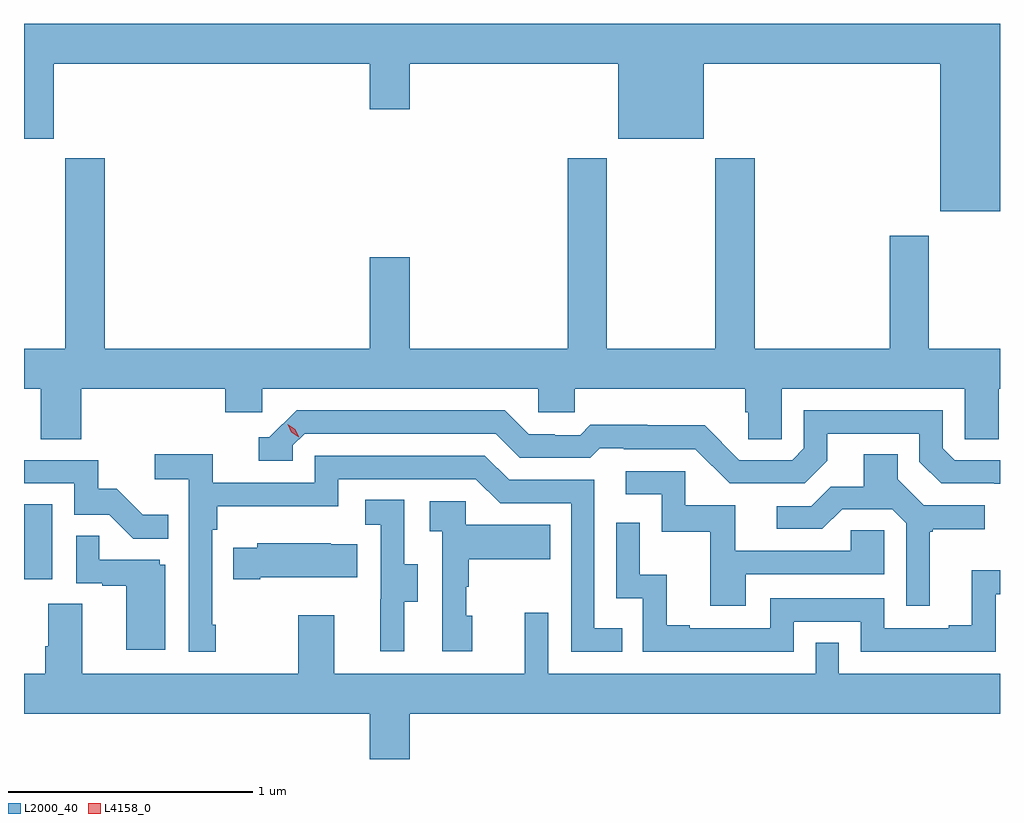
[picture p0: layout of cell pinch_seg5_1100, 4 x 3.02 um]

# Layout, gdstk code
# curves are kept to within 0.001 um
import gdstk
lib = gdstk.Library(unit=1e-6, precision=1e-09)
def R(c, l, rs):  # rectangles x0, y0, x1, y1
    for r in rs: c.add(gdstk.rectangle(r[:2], r[2:], *l))
def P(c, l, *ps):  # polygons
    for p in ps: c.add(gdstk.Polygon(p, *l))
L2000_40 = (2000, 40)
L4158_0 = (4158, 0)

pinch_seg5_1100 = lib.new_cell('pinch_seg5_1100')
R(pinch_seg5_1100, L2000_40, [(810.944,843.99,811.06,844.297)])
P(pinch_seg5_1100, L2000_40, [(814.944,846.268),(810.944,846.268),(810.944,845.795),(811.066,845.795),(811.066,846.104),(812.36,846.104),(812.36,845.916),(812.524,845.916),(812.524,846.104),(813.38,846.104),(813.38,845.795),(813.73,845.795),(813.73,846.104),(814.7,846.104),(814.7,845.498),(814.944,845.498)],
  [(811.178,844.772),(811.769,844.772),(811.769,844.674),(811.92,844.674),(811.92,844.772),(813.051,844.772),(813.051,844.674),(813.201,844.674),(813.201,844.772),(813.899,844.772),(813.899,844.674),(813.913,844.674),(813.913,844.564),(814.05,844.564),(814.05,844.772),(814.8,844.772),(814.8,844.564),(814.939,844.564),(814.939,844.772),(814.944,844.772),(814.944,844.936),(814.653,844.936),(814.653,845.398),(814.493,845.398),(814.493,844.936),(813.938,844.936),(813.938,845.716),(813.778,845.716),(813.778,844.936),(813.333,844.936),(813.333,845.716),(813.173,845.716),(813.173,844.936),(812.524,844.936),(812.524,845.311),(812.36,845.311),(812.36,844.936),(811.274,844.936),(811.274,845.716),(811.114,845.716),(811.114,844.936),(810.944,844.936),(810.944,844.772),(811.013,844.772),(811.013,844.564),(811.178,844.564)],
  [(814.944,844.479),(814.758,844.479),(814.71,844.527),(814.71,844.683),(814.14,844.683),(814.14,844.527),(814.092,844.479),(813.876,844.479),(813.734,844.621),(813.498,844.621),(813.498,844.624),(813.265,844.624),(813.223,844.581),(813.12,844.581),(813.12,844.584),(813.013,844.584),(812.914,844.683),(812.061,844.683),(811.95,844.572),(811.907,844.572),(811.907,844.476),(812.046,844.476),(812.046,844.539),(812.094,844.587),(812.877,844.587),(812.976,844.488),(813.265,844.488),(813.304,844.527),(813.403,844.527),(813.403,844.524),(813.696,844.524),(813.837,844.383),(814.143,844.383),(814.237,844.477),(814.237,844.587),(814.614,844.587),(814.614,844.473),(814.704,844.383),(814.944,844.382)],
  [(814.657,844.185),(814.669,844.185),(814.669,844.196),(814.882,844.196),(814.882,844.293),(814.632,844.293),(814.525,844.4),(814.525,844.502),(814.385,844.502),(814.385,844.37),(814.25,844.37),(814.17,844.29),(814.029,844.29),(814.029,844.197),(814.216,844.197),(814.297,844.278),(814.503,844.278),(814.56,844.221),(814.56,843.882),(814.657,843.882)],
  [(811.729,843.805),(811.716,843.805),(811.716,844.193),(811.736,844.193),(811.736,844.289),(812.232,844.289),(812.232,844.401),(812.796,844.401),(812.895,844.302),(813.186,844.302),(813.186,843.693),(813.395,843.693),(813.395,843.789),(813.282,843.789),(813.282,844.398),(812.932,844.398),(812.833,844.497),(812.136,844.497),(812.136,844.386),(811.718,844.386),(811.718,844.502),(811.479,844.502),(811.479,844.4),(811.62,844.4),(811.62,843.693),(811.729,843.693)],
  [(811.535,844.255),(811.431,844.255),(811.324,844.362),(811.248,844.362),(811.248,844.479),(810.944,844.479),(810.944,844.383),(811.149,844.383),(811.149,844.254),(811.293,844.254),(811.391,844.156),(811.535,844.156)],
  [(813.901,844.011),(814.47,844.011),(814.47,844.191),(814.333,844.191),(814.333,844.107),(813.859,844.107),(813.859,844.293),(813.654,844.293),(813.654,844.434),(813.411,844.434),(813.411,844.338),(813.558,844.338),(813.558,844.185),(813.757,844.185),(813.757,843.882),(813.901,843.882)],
  [(812.503,843.898),(812.557,843.898),(812.557,844.053),(812.502,844.053),(812.502,844.316),(812.343,844.316),(812.343,844.213),(812.406,844.213),(812.406,843.909),(812.405,843.909),(812.405,843.696),(812.503,843.696)],
  [(812.782,843.84),(812.757,843.84),(812.757,843.959),(812.767,843.959),(812.767,844.073),(813.101,844.073),(813.101,844.213),(812.754,844.213),(812.754,844.311),(812.607,844.311),(812.607,844.187),(812.658,844.187),(812.658,843.696),(812.782,843.696)],
  [(814.098,843.816),(814.374,843.816),(814.374,843.693),(814.926,843.693),(814.926,843.929),(814.944,843.929),(814.944,844.027),(814.829,844.027),(814.829,843.802),(814.733,843.802),(814.733,843.789),(814.47,843.789),(814.47,843.912),(814.002,843.912),(814.002,843.789),(813.673,843.789),(813.673,843.802),(813.578,843.802),(813.578,844.01),(813.468,844.01),(813.468,844.222),(813.372,844.222),(813.372,843.912),(813.48,843.912),(813.48,843.693),(814.098,843.693)],
  [(811.522,844.05),(811.5,844.05),(811.5,844.071),(811.253,844.071),(811.253,844.169),(811.158,844.169),(811.158,843.975),(811.265,843.975),(811.265,843.963),(811.364,843.963),(811.364,843.702),(811.522,843.702)],
  [(811.912,843.998),(812.309,843.998),(812.309,844.135),(812.201,844.135),(812.201,844.138),(811.899,844.138),(811.899,844.12),(811.801,844.12),(811.801,843.991),(811.912,843.991)],
  [(812.524,843.44),(814.944,843.44),(814.944,843.604),(814.284,843.604),(814.284,843.731),(814.188,843.731),(814.188,843.604),(813.093,843.604),(813.093,843.853),(812.996,843.853),(812.996,843.604),(812.215,843.604),(812.215,843.844),(812.068,843.844),(812.068,843.604),(811.183,843.604),(811.183,843.89),(811.043,843.89),(811.043,843.716),(811.031,843.716),(811.031,843.604),(810.944,843.604),(810.944,843.44),(812.36,843.44),(812.36,843.252),(812.524,843.252)])
P(pinch_seg5_1100, L4158_0, [(812.07,844.573),(812.04,844.593),(812.024,844.626),(812.024,844.626),(812.024,844.626),(812.055,844.606),(812.071,844.574),(812.071,844.573)])

lib.write_gds('pinch_seg5_1100.gds')
